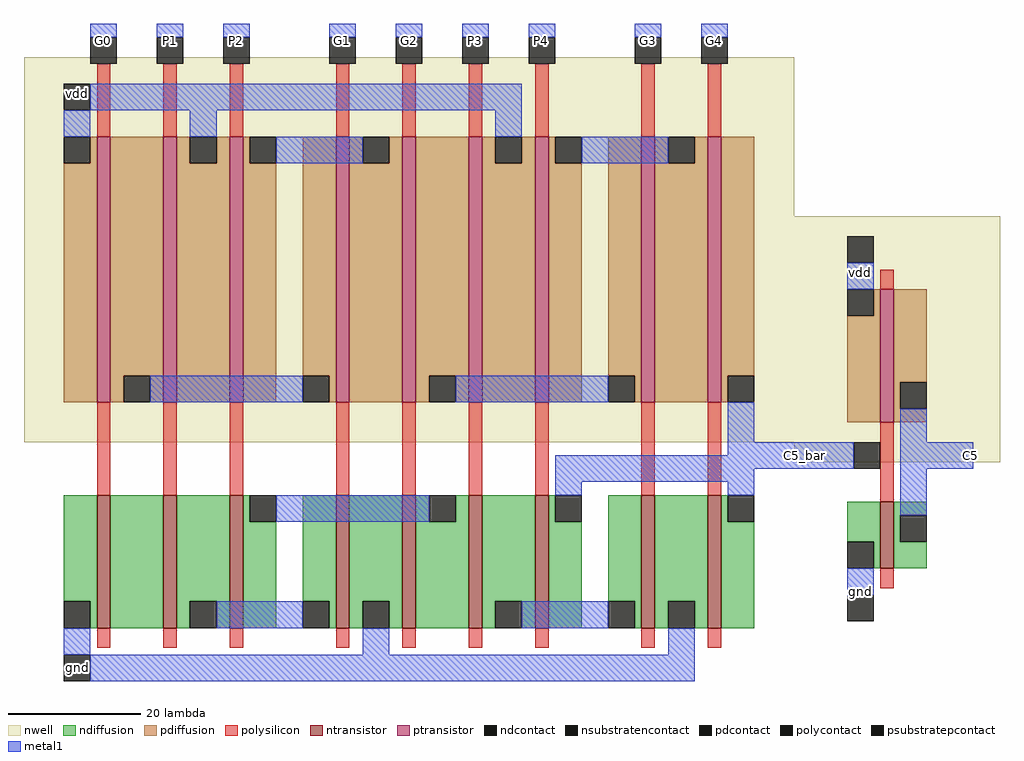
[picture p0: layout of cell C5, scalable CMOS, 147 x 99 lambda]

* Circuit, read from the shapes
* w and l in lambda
.subckt C5 C5_bar G0 G1 G2 G3 G4 P1 P2 P3 P4 gnd vdd
M1 n1 G0 gnd gnd nfet w=20 l=2
M2 n2 P1 n1 gnd nfet w=20 l=2
M3 n3 P2 n2 gnd nfet w=20 l=2
M4 gnd G1 n2 gnd nfet w=20 l=2
M5 n3 G2 gnd gnd nfet w=20 l=2
M6 n4 P3 n3 gnd nfet w=20 l=2
M7 C5_bar P4 n4 gnd nfet w=20 l=2
M8 gnd G3 n4 gnd nfet w=20 l=2
M9 C5_bar G4 gnd gnd nfet w=20 l=2
M10 n5 C5_bar gnd gnd nfet w=10 l=2
M11 n6 G0 vdd vdd pfet w=40 l=2
M12 vdd P1 n6 vdd pfet w=40 l=2
M13 n7 P2 vdd vdd pfet w=40 l=2
M14 n7 G1 n6 vdd pfet w=40 l=2
M15 n8 G2 n7 vdd pfet w=40 l=2
M16 vdd P3 n8 vdd pfet w=40 l=2
M17 n9 P4 vdd vdd pfet w=40 l=2
M18 n9 G3 n8 vdd pfet w=40 l=2
M19 C5_bar G4 n9 vdd pfet w=40 l=2
M20 n5 C5_bar vdd vdd pfet w=20 l=2
.ends

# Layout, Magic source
magic
tech scmos
<< nwell >>
rect -20 62 96 86
rect -20 28 127 62
rect 96 25 127 28
<< ntransistor >>
rect -9 0 -7 20
rect 1 0 3 20
rect 11 0 13 20
rect 27 0 29 20
rect 37 0 39 20
rect 47 0 49 20
rect 57 0 59 20
rect 73 0 75 20
rect 83 0 85 20
rect 109 9 111 19
<< ptransistor >>
rect -9 34 -7 74
rect 1 34 3 74
rect 11 34 13 74
rect 27 34 29 74
rect 37 34 39 74
rect 47 34 49 74
rect 57 34 59 74
rect 73 34 75 74
rect 83 34 85 74
rect 109 31 111 51
<< ndiffusion >>
rect -14 4 -9 20
rect -10 0 -9 4
rect -7 0 1 20
rect 3 4 11 20
rect 3 0 5 4
rect 9 0 11 4
rect 13 16 14 20
rect 13 0 18 16
rect 22 4 27 20
rect 26 0 27 4
rect 29 4 37 20
rect 29 0 31 4
rect 35 0 37 4
rect 39 16 41 20
rect 45 16 47 20
rect 39 0 47 16
rect 49 4 57 20
rect 49 0 51 4
rect 55 0 57 4
rect 59 16 60 20
rect 59 0 64 16
rect 68 4 73 20
rect 72 0 73 4
rect 75 4 83 20
rect 75 0 77 4
rect 81 0 83 4
rect 85 16 86 20
rect 85 0 90 16
rect 104 13 109 19
rect 108 9 109 13
rect 111 17 116 19
rect 111 13 112 17
rect 111 9 116 13
<< pdiffusion >>
rect -10 70 -9 74
rect -14 34 -9 70
rect -7 38 1 74
rect -7 34 -5 38
rect -1 34 1 38
rect 3 70 5 74
rect 9 70 11 74
rect 3 34 11 70
rect 13 70 14 74
rect 13 34 18 70
rect 22 38 27 74
rect 26 34 27 38
rect 29 70 31 74
rect 35 70 37 74
rect 29 34 37 70
rect 39 38 47 74
rect 39 34 41 38
rect 45 34 47 38
rect 49 70 51 74
rect 55 70 57 74
rect 49 34 57 70
rect 59 70 60 74
rect 59 34 64 70
rect 68 38 73 74
rect 72 34 73 38
rect 75 70 77 74
rect 81 70 83 74
rect 75 34 83 70
rect 85 38 90 74
rect 85 34 86 38
rect 108 47 109 51
rect 104 31 109 47
rect 111 37 116 51
rect 111 33 112 37
rect 111 31 116 33
<< ndcontact >>
rect -14 0 -10 4
rect 5 0 9 4
rect 14 16 18 20
rect 22 0 26 4
rect 31 0 35 4
rect 41 16 45 20
rect 51 0 55 4
rect 60 16 64 20
rect 68 0 72 4
rect 77 0 81 4
rect 86 16 90 20
rect 104 9 108 13
rect 112 13 116 17
<< pdcontact >>
rect -14 70 -10 74
rect -5 34 -1 38
rect 5 70 9 74
rect 14 70 18 74
rect 22 34 26 38
rect 31 70 35 74
rect 41 34 45 38
rect 51 70 55 74
rect 60 70 64 74
rect 68 34 72 38
rect 77 70 81 74
rect 86 34 90 38
rect 104 47 108 51
rect 112 33 116 37
<< psubstratepcontact >>
rect 104 1 108 5
rect -14 -8 -10 -4
<< nsubstratencontact >>
rect -14 78 -10 82
rect 104 55 108 59
<< polysilicon >>
rect -9 74 -7 85
rect 1 74 3 85
rect 11 74 13 85
rect 27 74 29 85
rect 37 74 39 85
rect 47 74 49 85
rect 57 74 59 85
rect 73 74 75 85
rect 83 74 85 85
rect 109 51 111 54
rect -9 20 -7 34
rect 1 20 3 34
rect 11 20 13 34
rect 27 20 29 34
rect 37 20 39 34
rect 47 20 49 34
rect 57 20 59 34
rect 73 20 75 34
rect 83 20 85 34
rect 109 19 111 31
rect 109 6 111 9
rect -9 -3 -7 0
rect 1 -3 3 0
rect 11 -3 13 0
rect 27 -3 29 0
rect 37 -3 39 0
rect 47 -3 49 0
rect 57 -3 59 0
rect 73 -3 75 0
rect 83 -3 85 0
<< polycontact >>
rect -10 85 -6 89
rect 0 85 4 89
rect 10 85 14 89
rect 26 85 30 89
rect 36 85 40 89
rect 46 85 50 89
rect 56 85 60 89
rect 72 85 76 89
rect 82 85 86 89
rect 105 24 109 28
<< metal1 >>
rect -10 89 -6 91
rect 0 89 4 91
rect 10 89 14 91
rect 26 89 30 91
rect 36 89 40 91
rect 46 89 50 91
rect 56 89 60 91
rect 72 89 76 91
rect 82 89 86 91
rect -10 78 55 82
rect -14 74 -10 78
rect 5 74 9 78
rect 51 74 55 78
rect 18 70 31 74
rect 64 70 77 74
rect 104 51 108 55
rect -1 34 22 38
rect 45 34 68 38
rect 86 28 90 34
rect 112 28 116 33
rect 86 26 105 28
rect 60 24 105 26
rect 112 24 123 28
rect 60 22 90 24
rect 60 20 64 22
rect 18 16 41 20
rect 86 20 90 22
rect 112 17 116 24
rect 104 5 108 9
rect 9 0 22 4
rect 55 0 68 4
rect -14 -4 -10 0
rect 31 -4 35 0
rect 77 -4 81 0
rect -10 -8 81 -4
<< labels >>
rlabel nsubstratencontact -13 80 -11 81 1 vdd
rlabel psubstratepcontact -14 -8 -10 -4 1 gnd
rlabel polycontact -9 88 -7 89 1 G0
rlabel polycontact 1 88 3 89 1 P1
rlabel polycontact 11 88 13 89 1 P2
rlabel polycontact 27 88 29 89 1 G1
rlabel polycontact 37 88 39 89 1 G2
rlabel polycontact 47 88 49 89 1 P3
rlabel polycontact 57 88 59 89 1 P4
rlabel polycontact 73 88 75 89 1 G3
rlabel polycontact 83 88 85 89 1 G4
rlabel metal1 104 53 108 54 1 vdd
rlabel metal1 104 5 108 6 1 gnd
rlabel metal1 97 25 98 27 1 C5_bar
rlabel metal1 122 25 123 27 7 C5
<< end >>
